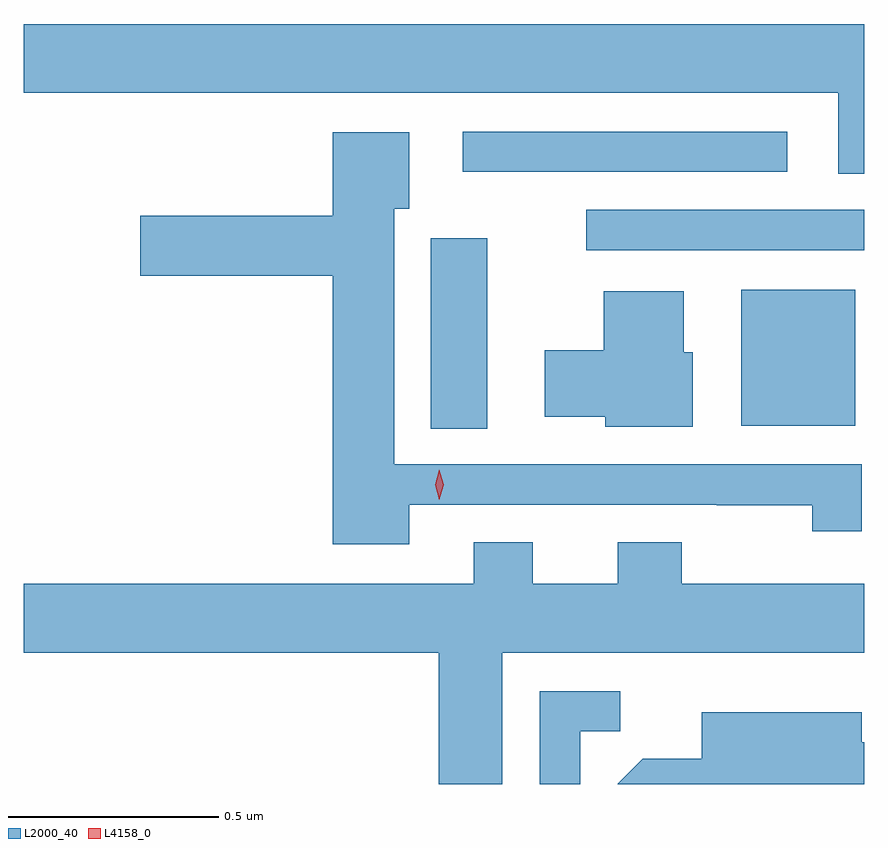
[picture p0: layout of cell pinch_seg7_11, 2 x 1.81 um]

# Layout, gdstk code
import gdstk
lib = gdstk.Library(unit=1e-6, precision=1e-09)
def R(c, l, rs):  # rectangles x0, y0, x1, y1
    for r in rs: c.add(gdstk.rectangle(r[:2], r[2:], *l))
def P(c, l, *ps):  # polygons
    for p in ps: c.add(gdstk.Polygon(p, *l))
L2000_40 = (2000, 40)
L4158_0 = (4158, 0)

pinch_seg7_11 = lib.new_cell('pinch_seg7_11')
R(pinch_seg7_11, L2000_40, [(1034.048,1077.073,1034.182,1077.526), (1034.786,1077.08,1035.058,1077.403), (1034.418,1077.498,1035.079,1077.594), (1034.124,1077.684,1034.896,1077.78)])
P(pinch_seg7_11, L2000_40, [(1035.079,1078.036),(1033.079,1078.036),(1033.079,1077.872),(1035.017,1077.872),(1035.017,1077.679),(1035.079,1077.679)],
  [(1033.996,1076.892),(1034.728,1076.892),(1034.728,1076.891),(1034.956,1076.891),(1034.956,1076.829),(1035.073,1076.829),(1035.073,1076.988),(1033.96,1076.988),(1033.96,1077.596),(1033.996,1077.596),(1033.996,1077.778),(1033.814,1077.778),(1033.814,1077.579),(1033.356,1077.579),(1033.356,1077.437),(1033.814,1077.437),(1033.814,1076.798),(1033.996,1076.798)],
  [(1034.671,1077.255),(1034.65,1077.255),(1034.65,1077.4),(1034.459,1077.4),(1034.459,1077.259),(1034.319,1077.259),(1034.319,1077.101),(1034.463,1077.101),(1034.463,1077.077),(1034.671,1077.077)],
  [(1034.218,1076.54),(1035.079,1076.54),(1035.079,1076.704),(1034.645,1076.704),(1034.645,1076.803),(1034.492,1076.803),(1034.492,1076.704),(1034.29,1076.704),(1034.29,1076.803),(1034.15,1076.803),(1034.15,1076.704),(1033.079,1076.704),(1033.079,1076.54),(1034.066,1076.54),(1034.066,1076.227),(1034.218,1076.227)],
  [(1034.403,1076.353),(1034.499,1076.353),(1034.499,1076.448),(1034.307,1076.448),(1034.307,1076.227),(1034.403,1076.227)],
  [(1035.079,1076.326),(1035.073,1076.326),(1035.073,1076.398),(1034.693,1076.398),(1034.693,1076.287),(1034.552,1076.287),(1034.493,1076.228),(1034.493,1076.227),(1035.079,1076.227)])
P(pinch_seg7_11, L4158_0, [(1034.068,1076.903),(1034.068,1076.903),(1034.058,1076.939),(1034.068,1076.975),(1034.068,1076.975),(1034.068,1076.975),(1034.078,1076.939),(1034.068,1076.903)])

lib.write_gds('pinch_seg7_11.gds')
